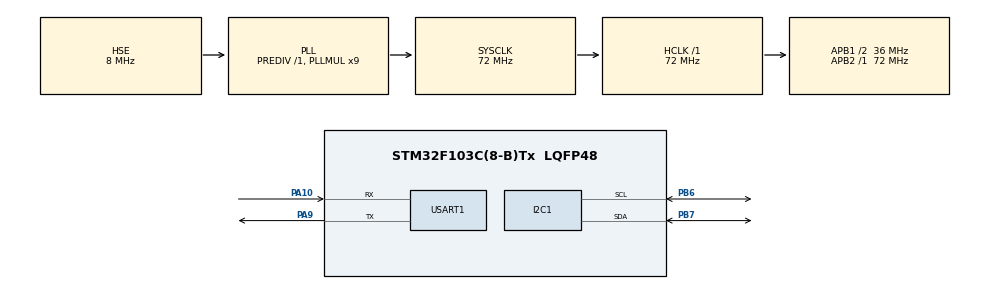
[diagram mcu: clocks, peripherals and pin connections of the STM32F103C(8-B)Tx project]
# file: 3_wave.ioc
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I2C1.I2C_Mode=I2C_Fast
Mcu.Family=STM32F1
Mcu.Name=STM32F103C(8-B)Tx
Mcu.Package=LQFP48
NVIC.PriorityGroup=NVIC_PRIORITYGROUP_4
NVIC.TIM2_IRQn=true\:0\:0\:false\:false\:true\:true\:true\:true
NVIC.USART1_IRQn=true\:0\:0\:false\:false\:true\:true\:true\:true
PA10.Mode=Asynchronous
PA10.Signal=USART1_RX
PA13.Mode=Serial_Wire
PA13.Signal=SYS_JTMS-SWDIO
PA14.Mode=Serial_Wire
PA14.Signal=SYS_JTCK-SWCLK
PA9.Mode=Asynchronous
PA9.Signal=USART1_TX
PB6.Mode=I2C
PB6.Signal=I2C1_SCL
PB7.Mode=I2C
PB7.Signal=I2C1_SDA
PD0-OSC_IN.Mode=HSE-External-Oscillator
PD0-OSC_IN.Signal=RCC_OSC_IN
PD1-OSC_OUT.Mode=HSE-External-Oscillator
PD1-OSC_OUT.Signal=RCC_OSC_OUT
ProjectManager.HeapSize=0x200
ProjectManager.StackSize=0x400
ProjectManager.TargetToolchain=Makefile
RCC.AHBFreq_Value=72000000
RCC.APB1CLKDivider=RCC_HCLK_DIV2
RCC.APB1Freq_Value=36000000
RCC.APB1TimFreq_Value=72000000
RCC.APB2Freq_Value=72000000
RCC.APB2TimFreq_Value=72000000
RCC.HCLKFreq_Value=72000000
RCC.PLLMUL=RCC_PLL_MUL9
RCC.PLLSourceVirtual=RCC_PLLSOURCE_HSE
RCC.SYSCLKFreq_VALUE=72000000
RCC.SYSCLKSource=RCC_SYSCLKSOURCE_PLLCLK
RCC.USBFreq_Value=72000000
TIM2.Period=99
TIM2.Prescaler=7199
USART1.VirtualMode=VM_ASYNC
VP_TIM2_VS_ClockSourceINT.Mode=Internal
board=custom

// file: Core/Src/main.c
/* USER CODE BEGIN Header */
/**
  ******************************************************************************
  * @file           : main.c
  * @brief          : Main program body
  ******************************************************************************
  * @attention
  *
  * Copyright (c) 2026 STMicroelectronics.
  * All rights reserved.
  *
  * This software is licensed under terms that can be found in the LICENSE file
  * in the root directory of this software component.
  * If no LICENSE file comes with this software, it is provided AS-IS.
  *
  ******************************************************************************
  */
/* USER CODE END Header */
#include "main.h"
#include "i2c.h"
#include "tim.h"
#include "usart.h"
#include "gpio.h"

/* USER CODE BEGIN Includes */
#include "OLED.h"
#include "string.h"
#include "stdarg.h"
#include "stdio.h"
#include <math.h>
/* USER CODE END Includes */

/* USER CODE BEGIN PTD */
typedef enum {
    WAVE_SINE = 0,
    WAVE_SAW,
    WAVE_SQUARE
} WaveType;
/* USER CODE END PTD */

/* USER CODE BEGIN PD */
#define TICK_MS   10U
#define PI_F      3.14159265f
/* USER CODE END PD */

/* USER CODE BEGIN PV */
volatile uint8_t wave_cur         = WAVE_SINE;
volatile uint8_t wave_change_flag = 0;
volatile uint8_t rx_byte          = 0;

uint8_t  shown_wave  = 0xFF;
uint8_t  send_pending = 0;
uint32_t point_index  = 0;

static const float WAVE_PERIOD[3] = {1.0f, 0.5f, 1.5f};
static const float WAVE_AMP[3]    = {2.0f, 1.0f, 0.5f};
static const char *WAVE_NAME[3]   = {"Sine", "Sawtooth", "Square"};
/* USER CODE END PV */

void SystemClock_Config(void);
/* USER CODE BEGIN PFP */
void Vofa_JustFloat(float *_data, uint8_t _num);
static float calc_wave(WaveType w, uint32_t idx);
/* USER CODE END PFP */

int main(void)
{

  /* MCU Configuration--------------------------------------------------------*/

  /* Reset of all peripherals, Initializes the Flash interface and the Systick. */
  HAL_Init();

  /* Configure the system clock */
  SystemClock_Config();

  /* Initialize all configured peripherals */
  MX_GPIO_Init();
  MX_I2C1_Init();
  MX_TIM2_Init();
  MX_USART1_UART_Init();
  /* USER CODE BEGIN 2 */
  OLED_init();
  HAL_TIM_Base_Start_IT(&htim2);
  HAL_UART_Receive_IT(&huart1, &rx_byte, 1);
  /* USER CODE END 2 */

  /* Infinite loop */
  while (1)
  {

    /* USER CODE BEGIN 3 */
    /* 1. 处理波形切换 */
        if (wave_change_flag)
        {
            wave_change_flag = 0;
            point_index = 0;
            send_pending = 1;
        }

        /* 2. 每 10ms 发一个波形点 */
        if (send_pending)
        {
            float v;
            float N;

            send_pending = 0;
            v = calc_wave((WaveType)wave_cur, point_index);
            Vofa_JustFloat(&v, 1);

            point_index++;
            N = WAVE_PERIOD[wave_cur] / (TICK_MS / 1000.0f);
            if (point_index >= (uint32_t)N)
                point_index = 0;
        }

        /* 3. 仅波形变化时刷新 OLED */
        if (shown_wave != wave_cur)
        {
            shown_wave = wave_cur;

            OLED_operate_gram(PEN_CLEAR);
            OLED_show_string(0, 0, (uint8_t *)"Wave:");
            OLED_show_string(0, 5, (uint8_t *)WAVE_NAME[wave_cur]);
            // OLED_printf(2, 0, "T:%0.1fs", WAVE_PERIOD[wave_cur]);
            // OLED_printf(3, 0, "A:%0.1f",  WAVE_AMP[wave_cur]);
            OLED_refresh_gram();
        }
  }
  /* USER CODE END 3 */
}

void SystemClock_Config(void)
{
  RCC_OscInitTypeDef RCC_OscInitStruct = {0};
  RCC_ClkInitTypeDef RCC_ClkInitStruct = {0};

  /** Initializes the RCC Oscillators according to the specified parameters
  * in the RCC_OscInitTypeDef structure.
  */
  RCC_OscInitStruct.OscillatorType = RCC_OSCILLATORTYPE_HSE;
  RCC_OscInitStruct.HSEState = RCC_HSE_ON;
  RCC_OscInitStruct.HSEPredivValue = RCC_HSE_PREDIV_DIV1;
  RCC_OscInitStruct.HSIState = RCC_HSI_ON;
  RCC_OscInitStruct.PLL.PLLState = RCC_PLL_ON;
  RCC_OscInitStruct.PLL.PLLSource = RCC_PLLSOURCE_HSE;
  RCC_OscInitStruct.PLL.PLLMUL = RCC_PLL_MUL9;
  if (HAL_RCC_OscConfig(&RCC_OscInitStruct) != HAL_OK)
  {
    Error_Handler();
  }

  /** Initializes the CPU, AHB and APB buses clocks
  */
  RCC_ClkInitStruct.ClockType = RCC_CLOCKTYPE_HCLK|RCC_CLOCKTYPE_SYSCLK
                              |RCC_CLOCKTYPE_PCLK1|RCC_CLOCKTYPE_PCLK2;
  RCC_ClkInitStruct.SYSCLKSource = RCC_SYSCLKSOURCE_PLLCLK;
  RCC_ClkInitStruct.AHBCLKDivider = RCC_SYSCLK_DIV1;
  RCC_ClkInitStruct.APB1CLKDivider = RCC_HCLK_DIV2;
  RCC_ClkInitStruct.APB2CLKDivider = RCC_HCLK_DIV1;

  if (HAL_RCC_ClockConfig(&RCC_ClkInitStruct, FLASH_LATENCY_2) != HAL_OK)
  {
    Error_Handler();
  }
}

/* USER CODE BEGIN 4 */
/* ---------------- VOFA JustFloat 发送 ---------------- */
void Vofa_JustFloat(float *_data, uint8_t _num)
{
    uint8_t tempData[100];
    uint8_t temp_end[4] = {0, 0, 0x80, 0x7F};
    float   temp_copy[_num];

    memcpy(&temp_copy, _data, sizeof(float) * _num);
    memcpy(tempData, (uint8_t *)&temp_copy, sizeof(temp_copy));
    memcpy(&tempData[_num * 4], &temp_end[0], 4);

    HAL_UART_Transmit_IT(&huart1, tempData, (_num + 1) * 4);
}

/* ---------------- 波形计算 ---------------- */
static float calc_wave(WaveType w, uint32_t idx)
{
    float N  = WAVE_PERIOD[w] / (TICK_MS / 1000.0f);
    float ph = (float)idx / N;

    switch (w)
    {
        case WAVE_SINE:
            return WAVE_AMP[w] * sinf(2.0f * PI_F * ph);

        case WAVE_SAW:
            return WAVE_AMP[w] * (2.0f * ph - 1.0f);

        case WAVE_SQUARE:
            return (ph < 0.5f) ? WAVE_AMP[w] : -WAVE_AMP[w];

        default:
            return 0.0f;
    }
}

/* ---------------- 串口接收完成回调 ---------------- */
void HAL_UART_RxCpltCallback(UART_HandleTypeDef *huart)
{
    if (huart->Instance == USART1)
    {
        uint8_t c = rx_byte;

        if (c >= '1' && c <= '3')
        {
            wave_cur = c - '1';
            wave_change_flag = 1;
        }

        HAL_UART_Receive_IT(&huart1, (uint8_t *)&rx_byte, 1);
    }
}

/* ---------------- TIM 周期回调 ---------------- */
void HAL_TIM_PeriodElapsedCallback(TIM_HandleTypeDef *htim)
{
    if (htim->Instance == TIM2)
    {
        send_pending = 1;
    }
}

/* USER CODE END 4 */

void Error_Handler(void)
{
  __disable_irq();
  while (1)
  {
  }
}
